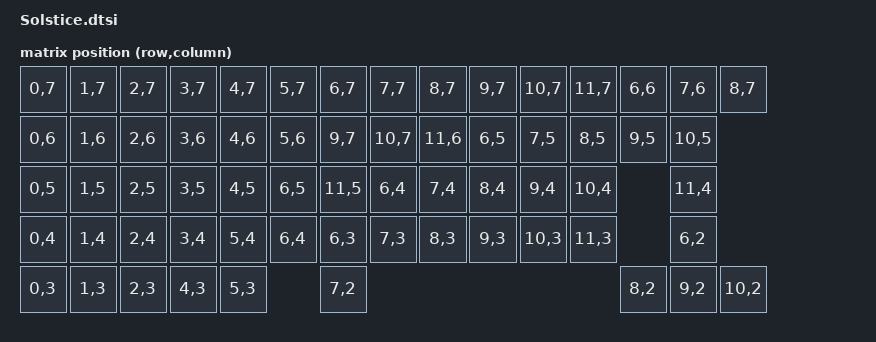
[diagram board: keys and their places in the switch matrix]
#include <dt-bindings/zmk/matrix_transform.h>
#include <behaviors/rgbled_widget.dtsi>

/ {
	kscan0: kscan {
		compatible = "zmk,kscan-gpio-charlieplex";
	};
	
	default_transform: keymap_transform_0 {
		compatible = "zmk,matrix-transform";
		columns = <12>;
		rows = <7>;
		
		map = <
		RC(0,7)   RC(1,7)   RC(2,7)   RC(3,7)   RC(4,7)   RC(5,7)       RC(6,7)   RC(7,7)   RC(8,7)   RC(9,7)   RC(10,7)  RC(11,7)  RC(6,6)   RC(7,6)  RC(8,7)
		RC(0,6)   RC(1,6)   RC(2,6)   RC(3,6)   RC(4,6)   RC(5,6)       RC(9,7)   RC(10,7)  RC(11,6)  RC(6,5)   RC(7,5)   RC(8,5)   RC(9,5)   RC(10,5)
		RC(0,5)   RC(1,5)   RC(2,5)   RC(3,5)   RC(4,5)   RC(6,5)       RC(11,5)  RC(6,4)   RC(7,4)   RC(8,4)   RC(9,4)   RC(10,4)            RC(11,4)
		RC(0,4)   RC(1,4)   RC(2,4)   RC(3,4)   RC(5,4)   RC(6,4)       RC(6,3)   RC(7,3)   RC(8,3)   RC(9,3)   RC(10,3)  RC(11,3)            RC(6,2)
		RC(0,3)   RC(1,3)   RC(2,3)   RC(4,3)   RC(5,3)                 RC(7,2)                                                     RC(8,2)   RC(9,2)  RC(10,2)
		>;
	};

    aliases {
        led-red = &led0;
        led-green = &led1;
        led-blue = &led2;
    };

    leds {
        compatible = "gpio-leds";
        status = "okay";
        led0: led_0 {
            gpios = <&gpio0 26 GPIO_ACTIVE_LOW>;  // red LED, connected to P0.26
        };
        led1: led_1 {
            gpios = <&gpio0 30 GPIO_ACTIVE_LOW>;  // green LED, connected to P0.30
        };
        led2: led_2 {
            gpios = <&gpio0 6 GPIO_ACTIVE_LOW>;  // blue LED, connected to P0.06
        };
    };
};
